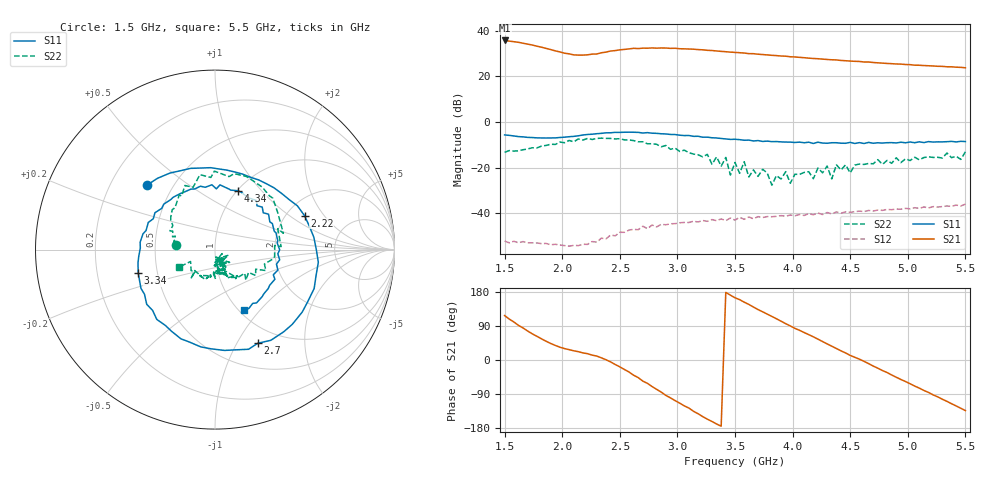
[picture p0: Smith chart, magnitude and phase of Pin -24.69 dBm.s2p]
! RsaToolbox (C) 2015 Rohde & Schwarz America
! Number of points: 101
! Number of ports: 2
! Balanced ports?: No
# Hz S RI R 50
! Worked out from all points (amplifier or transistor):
!   101 points, 1.5 GHz to 5.5 GHz, reference 50 ohm
!   highest |S21| = 35.8 dB at 1.5 GHz (marker M1)
!   |S21| within 3 dB of that: start of sweep to 1.824 GHz
!   unconditionally stable (mu >= 1): start of sweep to end of sweep
!   at 2.14 GHz: K = 5.57, MAG = 31.4 dB, |S12| = -54.2 dB
!   at 3.5 GHz: K = 1.88, MAG = 31.4 dB, |S12| = -43.0 dB
!   at 5.5 GHz: K = 1.73, MAG = 25.0 dB, |S12| = -36.0 dB
!   S11 on the Smith chart (normalised r, x): 1.5 GHz: 0.36, +0.36; 2.22 GHz: 2.49, +1.32; 2.7 GHz: 0.79, -1.23; 3.34 GHz: 0.39, -0.13; 4.34 GHz: 1.00, +0.75; 5.5 GHz: 1.06, -0.82
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1.5e9  -0.3769 0.3605  -28.3 54.8  0.00158 -0.00186  -0.2155 0.0258
1.62e9  -0.1924 0.4394  -1.441 56.19  0.000927 -0.00205  -0.2213 0.0749
1.82e9  0.0654 0.443  24.64 36.34  -9.16e-05 -0.00215  -0.2466 0.165
1.98e9  0.2434 0.3882  28.77 19.22  -0.00059 -0.00192  -0.1992 0.3039
2.18e9  0.4593 0.2437  27.88 9.472  -0.000505 -0.00202  -0.0231 0.402
2.22e9  0.4987 0.189  28.58 8.529  -0.000441 -0.00202  -0.00355 0.4374
2.38e9  0.5756 -0.0706  34.26 0.4174  -0.000879 -0.00259  0.2092 0.385
2.5e9  0.5153 -0.2929  36.46 -11.85  -0.0023 -0.00303  0.3217 0.2868
2.7e9  0.2389 -0.5216  23.51 -34.57  -0.00447 -0.00262  0.3686 0.0169
2.86e9  -0.0235 -0.5526  3.777 -42.02  -0.00561 -0.000994  0.2756 -0.0803
2.98e9  -0.1902 -0.497  -12.24 -39.74  -0.00586 0.000735  0.2264 -0.1441
3.14e9  -0.3475 -0.339  -28.26 -27.87  -0.00594 0.00303  0.1148 -0.1617
3.34e9  -0.4279 -0.1297  -35.57 -7.04  -0.00382 0.00567  0.0754 -0.1535
3.5e9  -0.4171 0.0407  -32.46 9.186  -0.00201 0.00675  0.0186 -0.1284
3.7e9  -0.3344 0.2056  -21.03 22.52  0.00108 0.00834  0.0225 -0.0601
3.86e9  -0.2333 0.2915  -9.219 27.17  0.00386 0.0076  0.0165 -0.0649
4.18e9  0.00779 0.3384  11.93 21.72  0.00826 0.00414  -0.000962 -0.0572
4.34e9  0.1258 0.3284  18.7 13.82  0.0095 0.00154  0.0217 -0.052
4.58e9  0.2632 0.2368  21.35 0.7866  0.0106 -0.00334  0.0587 -0.1045
4.86e9  0.3496 0.0506  14.72 -12.13  0.00717 -0.00953  -0.0132 -0.1236
5.18e9  0.3337 -0.1654  1.314 -17.14  0.000437 -0.013  -0.0627 -0.1611
5.5e9  0.1622 -0.336  -10.68 -11.24  -0.00911 -0.0129  -0.2004 -0.0976
